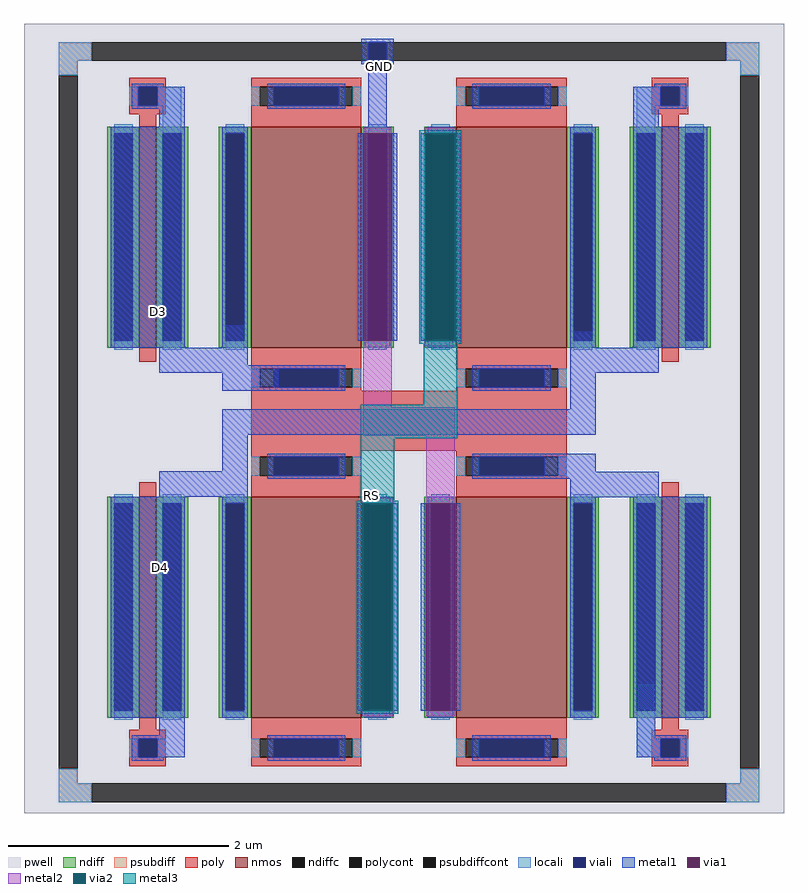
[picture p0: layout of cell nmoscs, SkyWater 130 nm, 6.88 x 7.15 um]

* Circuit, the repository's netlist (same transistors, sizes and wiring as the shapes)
** sch_path: /home/nsptrq/opamp/mag/nmoscs.sch
.subckt nmoscs D3 D4 rs GND
*.PININFO rs:B D3:B GND:B D4:B
XM4 D4 D3 rs GND sky130_fd_pr__nfet_01v8 L=1 W=2 nf=1 m=2
XM3 D3 D3 GND GND sky130_fd_pr__nfet_01v8 L=1 W=2 nf=1 m=2
XM1 D3 D3 D3 GND sky130_fd_pr__nfet_01v8 L=0.15 W=2 nf=1 m=2
XM2 D4 D4 D4 GND sky130_fd_pr__nfet_01v8 L=0.15 W=2 nf=1 m=2
.ends
.end

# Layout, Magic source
magic
tech sky130A
magscale 1 2
<< pwell >>
rect -353 -785 1023 644
<< psubdiff >>
rect -290 577 -230 611
rect 918 577 978 611
rect -290 551 -256 577
rect 944 551 978 577
rect -290 -731 -256 -705
rect 944 -731 978 -705
rect -290 -765 -230 -731
rect 918 -765 978 -731
<< psubdiffcont >>
rect -230 577 918 611
rect -290 -705 -256 551
rect 944 -705 978 551
rect -230 -765 918 -731
<< poly >>
rect 58 -129 630 -20
<< locali >>
rect -290 577 -230 611
rect 918 577 978 611
rect -290 551 -256 577
rect 944 551 978 577
rect -102 458 -68 530
rect 756 458 790 530
rect 756 -684 790 -552
rect -290 -731 -256 -705
rect 944 -731 978 -705
rect -290 -765 -230 -731
rect 918 -765 978 -731
<< viali >>
rect 270 577 304 611
<< metal1 >>
rect 258 611 316 617
rect 258 577 270 611
rect 304 577 316 611
rect 258 571 316 577
rect -108 458 -62 530
rect -196 58 -62 458
rect 270 446 304 571
rect 750 458 796 530
rect 6 58 52 98
rect 251 70 261 446
rect 313 70 323 446
rect 365 70 375 446
rect 427 70 437 446
rect -108 26 52 58
rect 636 58 682 87
rect 750 58 884 458
rect -108 12 108 26
rect 6 -20 108 12
rect 636 12 796 58
rect 636 -54 682 12
rect 6 -100 682 -54
rect 6 -166 52 -100
rect -108 -212 52 -166
rect 595 -167 682 -134
rect 595 -180 796 -167
rect -196 -612 -62 -212
rect 6 -214 52 -212
rect 636 -212 796 -180
rect 636 -213 884 -212
rect 251 -600 261 -224
rect 313 -600 323 -224
rect 365 -600 375 -224
rect 427 -600 437 -224
rect 750 -612 884 -213
rect -108 -684 -62 -612
rect 756 -684 790 -612
<< via1 >>
rect 261 70 313 446
rect 375 70 427 446
rect 261 -600 313 -224
rect 375 -600 427 -224
<< metal2 >>
rect 261 446 313 456
rect 261 -50 313 70
rect 373 446 429 456
rect 373 60 429 70
rect 261 -102 427 -50
rect 259 -224 315 -214
rect 259 -610 315 -600
rect 375 -224 427 -102
rect 375 -610 427 -600
<< via2 >>
rect 373 70 375 446
rect 375 70 427 446
rect 427 70 429 446
rect 259 -600 261 -224
rect 261 -600 313 -224
rect 313 -600 315 -224
<< metal3 >>
rect 363 446 439 451
rect 363 70 373 446
rect 429 70 439 446
rect 363 65 439 70
rect 371 -46 431 65
rect 257 -106 431 -46
rect 257 -219 317 -106
rect 249 -224 325 -219
rect 249 -600 259 -224
rect 315 -600 325 -224
rect 249 -605 325 -600
use sky130_fd_pr__nfet_01v8_7CP4KT  sky130_fd_pr__nfet_01v8_7CP4KT_0
transform 1 0 -129 0 1 289
box -73 -257 73 257
use sky130_fd_pr__nfet_01v8_7CP4KT  sky130_fd_pr__nfet_01v8_7CP4KT_1
transform 1 0 817 0 1 289
box -73 -257 73 257
use sky130_fd_pr__nfet_01v8_7CYQ2Z  sky130_fd_pr__nfet_01v8_7CYQ2Z_0
transform 1 0 -129 0 1 -443
box -73 -257 73 257
use sky130_fd_pr__nfet_01v8_7CYQ2Z  sky130_fd_pr__nfet_01v8_7CYQ2Z_1
transform 1 0 817 0 1 -443
box -73 -257 73 257
use sky130_fd_pr__nfet_01v8_8UMB6F  sky130_fd_pr__nfet_01v8_8UMB6F_0
transform 1 0 344 0 1 -412
box -344 -288 344 288
use sky130_fd_pr__nfet_01v8_8UMB6F  sky130_fd_pr__nfet_01v8_8UMB6F_1
transform 1 0 344 0 1 258
box -344 -288 344 288
<< labels >>
flabel metal1 290 566 290 566 0 FreeSans 1600 0 0 0 GND
port 0 nsew
flabel metal1 -110 124 -110 124 0 FreeSans 1600 0 0 0 D3
port 1 nsew
flabel metal1 -106 -340 -106 -340 0 FreeSans 1600 0 0 0 D4
port 2 nsew
flabel metal3 276 -210 276 -210 0 FreeSans 1600 0 0 0 RS
port 3 nsew
<< end >>

# cell sky130_fd_pr__nfet_01v8_7CP4KT: kit device sky130_fd_pr__nfet_01v8, w 2 l 0.150 m 1 nf 1 diffcov 100 polycov 100 guard 0 glc 1 grc 1 gtc 1 gbc 1 tbcov 100 rlcov 100 topc 1 botc 0 poverlap 0 doverlap 0 lmin 0.15 wmin 0.42 compatible {sky130_fd_pr__nfet_01v8 sky130_fd_pr__nfet_01v8_lvt sky130_fd_bs_flash__special_sonosfet_star sky130_fd_pr__nfet_g5v0d10v5 sky130_fd_pr__nfet_05v0_nvt sky130_fd_pr__nfet_03v3_nvt} full_metal 1 viasrc 100 viadrn 100 viagate 100 viagb 0 viagr 0 viagl 0 viagt 0

# cell sky130_fd_pr__nfet_01v8_7CYQ2Z: kit device sky130_fd_pr__nfet_01v8, w 2 l 0.150 m 1 nf 1 diffcov 100 polycov 100 guard 0 glc 1 grc 1 gtc 1 gbc 1 tbcov 100 rlcov 100 topc 0 botc 1 poverlap 0 doverlap 0 lmin 0.15 wmin 0.42 compatible {sky130_fd_pr__nfet_01v8 sky130_fd_pr__nfet_01v8_lvt sky130_fd_bs_flash__special_sonosfet_star sky130_fd_pr__nfet_g5v0d10v5 sky130_fd_pr__nfet_05v0_nvt sky130_fd_pr__nfet_03v3_nvt} full_metal 1 viasrc 100 viadrn 100 viagate 100 viagb 0 viagr 0 viagl 0 viagt 0

# cell sky130_fd_pr__nfet_01v8_8UMB6F: kit device sky130_fd_pr__nfet_01v8, w 2 l 1 m 1 nf 2 diffcov 100 polycov 100 guard 0 glc 1 grc 1 gtc 1 gbc 1 tbcov 100 rlcov 100 topc 1 botc 1 poverlap 0 doverlap 0 lmin 0.15 wmin 0.42 compatible {sky130_fd_pr__nfet_01v8 sky130_fd_pr__nfet_01v8_lvt sky130_fd_bs_flash__special_sonosfet_star sky130_fd_pr__nfet_g5v0d10v5 sky130_fd_pr__nfet_05v0_nvt sky130_fd_pr__nfet_03v3_nvt} full_metal 1 viasrc 100 viadrn 100 viagate 70 viagb 0 viagr 0 viagl 0 viagt 0
